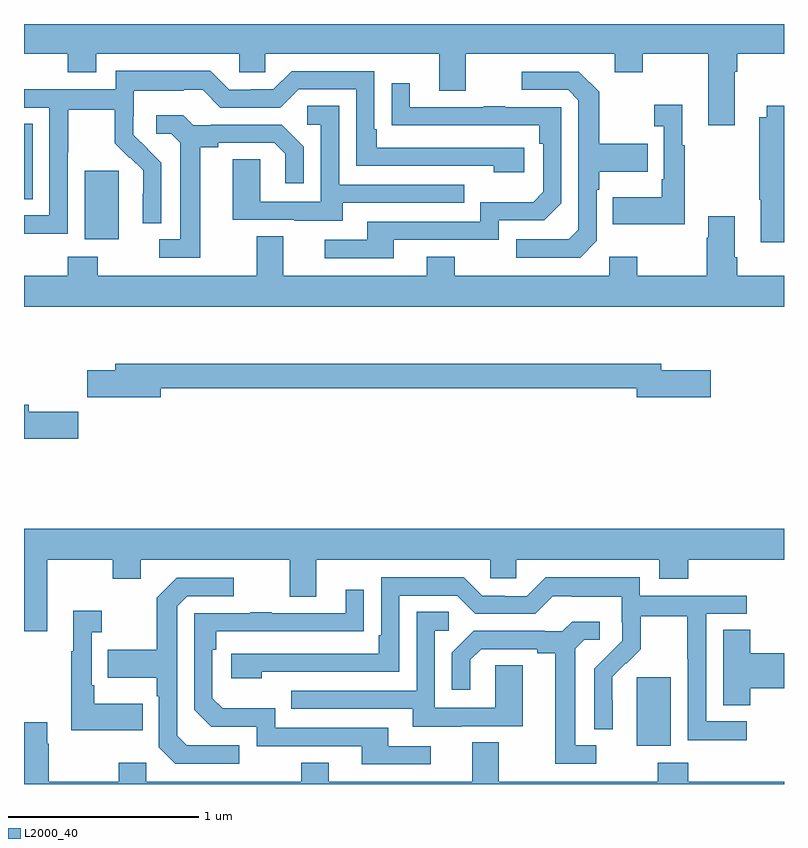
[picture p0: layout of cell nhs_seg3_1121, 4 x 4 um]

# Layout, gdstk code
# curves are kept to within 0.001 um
import gdstk
lib = gdstk.Library(unit=1e-6, precision=1e-09)
def R(c, l, rs):  # rectangles x0, y0, x1, y1
    for r in rs: c.add(gdstk.rectangle(r[:2], r[2:], *l))
def P(c, l, *ps):  # polygons
    for p in ps: c.add(gdstk.Polygon(p, *l))
L2000_40 = (2000, 40)

nhs_seg3_1121 = lib.new_cell('nhs_seg3_1121')
R(nhs_seg3_1121, L2000_40, [(172.226,702.602,172.405,702.963), (169.319,705.266,169.498,705.627), (169,705.478,169.045,705.875)])
P(nhs_seg3_1121, L2000_40, [(172.741,706.148),(172.754,706.148),(172.754,706.244),(173,706.244),(173,706.4),(169,706.4),(169,706.244),(169.229,706.244),(169.229,706.145),(169.381,706.145),(169.381,706.244),(170.133,706.244),(170.133,706.146),(170.271,706.146),(170.271,706.244),(171.185,706.244),(171.185,706.05),(171.325,706.05),(171.325,706.244),(172.109,706.244),(172.109,706.145),(172.257,706.145),(172.257,706.244),(172.601,706.244),(172.601,705.867),(172.741,705.867)],
  [(169.23,705.724),(169.233,705.724),(169.233,705.948),(169.477,705.948),(169.477,705.773),(169.554,705.696),(169.557,705.699),(169.628,705.629),(169.628,705.506),(169.626,705.506),(169.626,705.352),(169.722,705.352),(169.722,705.67),(169.576,705.818),(169.576,705.915),(169.578,705.915),(169.578,706.049),(169.841,706.049),(169.841,706.053),(169.941,706.053),(170.034,705.96),(170.349,705.96),(170.445,706.056),(170.748,706.056),(170.748,705.654),(171.473,705.654),(171.473,705.62),(171.634,705.62),(171.634,705.75),(170.857,705.75),(170.857,705.847),(170.844,705.847),(170.844,706.152),(170.409,706.152),(170.313,706.056),(170.195,706.056),(170.195,706.053),(170.079,706.053),(169.979,706.153),(169.482,706.153),(169.482,706.056),(169,706.056),(169,705.96),(169.134,705.96),(169.134,705.393),(169,705.393),(169,705.295),(169.23,705.295)],
  [(172.014,705.258),(172.014,705.527),(172.027,705.527),(172.027,705.623),(172.283,705.623),(172.283,705.771),(172.027,705.771),(172.027,706.043),(171.921,706.149),(171.621,706.149),(171.621,706.053),(171.864,706.053),(171.918,705.999),(171.918,705.318),(171.867,705.267),(171.591,705.267),(171.591,705.171),(171.927,705.171)],
  [(170.947,705.264),(171.498,705.264),(171.498,705.366),(171.738,705.366),(171.828,705.456),(171.828,705.963),(171.533,705.963),(171.533,705.968),(171.421,705.968),(171.421,705.963),(171.031,705.963),(171.031,706.087),(170.935,706.087),(170.935,705.868),(171.712,705.867),(171.712,705.77),(171.732,705.77),(171.732,705.516),(171.679,705.463),(171.402,705.463),(171.402,705.36),(170.807,705.36),(170.807,705.264),(170.583,705.264),(170.583,705.168),(170.947,705.168)],
  [(172.477,705.763),(172.465,705.763),(172.465,705.976),(172.317,705.976),(172.317,705.863),(172.368,705.863),(172.368,705.583),(172.356,705.583),(172.356,705.487),(172.099,705.487),(172.099,705.347),(172.477,705.347)],
  [(170.677,705.459),(171.317,705.459),(171.317,705.555),(170.658,705.555),(170.658,705.971),(170.49,705.971),(170.49,705.87),(170.562,705.87),(170.562,705.465),(170.244,705.465),(170.244,705.689),(170.099,705.689),(170.099,705.369),(170.423,705.369),(170.423,705.365),(170.677,705.365)],
  [(173,705.97),(172.91,705.97),(172.91,705.91),(172.87,705.91),(172.87,705.475),(172.877,705.475),(172.877,705.252),(173,705.252)],
  [(169.927,705.752),(170.023,705.752),(170.023,705.774),(170.318,705.774),(170.375,705.717),(170.375,705.561),(170.472,705.561),(170.472,705.754),(170.356,705.87),(169.984,705.87),(169.984,705.867),(169.89,705.867),(169.838,705.919),(169.695,705.919),(169.695,705.822),(169.776,705.822),(169.823,705.775),(169.823,705.267),(169.713,705.267),(169.713,705.171),(169.927,705.171)],
  [(170.225,705.284),(170.225,705.076),(169.389,705.076),(169.389,705.175),(169.229,705.175),(169.229,705.076),(169,705.076),(169,704.912),(173,704.912),(173,705.076),(172.754,705.076),(172.754,705.172),(172.741,705.172),(172.741,705.388),(172.601,705.388),(172.601,705.275),(172.594,705.275),(172.594,705.076),(172.227,705.076),(172.227,705.175),(172.08,705.175),(172.08,705.076),(171.267,705.076),(171.267,705.175),(171.119,705.175),(171.119,705.076),(170.365,705.076),(170.365,705.284)],
  [(169.72,704.482),(172.226,704.482),(172.226,704.435),(172.615,704.435),(172.615,704.577),(172.354,704.577),(172.354,704.611),(169.481,704.611),(169.481,704.577),(169.332,704.577),(169.332,704.435),(169.72,704.435)],
  [(169.285,704.36),(169.024,704.36),(169.024,704.396),(169,704.396),(169,704.218),(169.285,704.218)],
  [(169.123,703.58),(169.468,703.58),(169.468,703.481),(169.615,703.481),(169.615,703.58),(170.399,703.58),(170.399,703.386),(170.539,703.386),(170.539,703.58),(171.453,703.58),(171.453,703.482),(171.591,703.482),(171.591,703.58),(172.343,703.58),(172.343,703.481),(172.496,703.481),(172.496,703.58),(173,703.58),(173,703.744),(169,703.744),(169,703.203),(169.123,703.203)],
  [(172.804,702.729),(172.59,702.729),(172.59,703.296),(172.804,703.296),(172.804,703.392),(172.242,703.392),(172.242,703.489),(171.745,703.489),(171.645,703.389),(171.53,703.389),(171.53,703.392),(171.411,703.392),(171.315,703.488),(170.88,703.488),(170.88,703.183),(170.867,703.183),(170.867,703.086),(170.091,703.086),(170.091,702.956),(170.252,702.956),(170.252,702.99),(170.976,702.99),(170.976,703.392),(171.279,703.392),(171.375,703.296),(171.69,703.296),(171.783,703.389),(171.883,703.389),(171.883,703.385),(172.146,703.385),(172.146,703.251),(172.148,703.251),(172.148,703.154),(172.002,703.006),(172.002,702.688),(172.098,702.688),(172.097,702.965),(172.167,703.035),(172.17,703.032),(172.247,703.109),(172.247,703.284),(172.492,703.284),(172.492,703.06),(172.494,703.06),(172.494,702.631),(172.804,702.631)],
  [(170.134,702.603),(169.857,702.603),(169.806,702.654),(169.806,703.335),(169.86,703.389),(170.104,703.389),(170.104,703.485),(169.803,703.485),(169.698,703.379),(169.698,703.107),(169.441,703.107),(169.441,702.959),(169.698,702.959),(169.698,702.863),(169.71,702.863),(169.71,702.594),(169.797,702.507),(170.134,702.507)],
  [(171.142,702.6),(170.917,702.6),(170.917,702.696),(170.322,702.696),(170.322,702.799),(170.045,702.799),(169.992,702.852),(169.992,703.106),(170.012,703.106),(170.012,703.203),(170.789,703.204),(170.789,703.423),(170.693,703.423),(170.693,703.299),(170.303,703.299),(170.303,703.304),(170.191,703.304),(170.191,703.299),(169.896,703.299),(169.896,702.792),(169.986,702.702),(170.226,702.702),(170.226,702.6),(170.777,702.6),(170.777,702.504),(171.142,702.504)],
  [(169.625,702.823),(169.369,702.823),(169.369,702.919),(169.356,702.919),(169.356,703.199),(169.408,703.199),(169.408,703.312),(169.259,703.312),(169.259,703.099),(169.248,703.099),(169.248,702.683),(169.625,702.683)],
  [(171.301,702.705),(171.625,702.705),(171.625,703.025),(171.48,703.025),(171.48,702.801),(171.162,702.801),(171.162,703.206),(171.235,703.206),(171.235,703.307),(171.066,703.307),(171.066,702.891),(170.407,702.891),(170.407,702.795),(171.047,702.795),(171.047,702.701),(171.301,702.701)],
  [(172.012,702.603),(171.901,702.603),(171.901,703.111),(171.948,703.158),(172.03,703.158),(172.03,703.255),(171.886,703.255),(171.834,703.203),(171.74,703.203),(171.74,703.206),(171.368,703.206),(171.252,703.09),(171.252,702.897),(171.349,702.897),(171.349,703.053),(171.406,703.11),(171.701,703.11),(171.701,703.088),(171.797,703.088),(171.797,702.507),(172.012,702.507)],
  [(172.823,702.905),(173,702.905),(173,703.088),(172.823,703.088),(172.823,703.211),(172.679,703.211),(172.679,702.814),(172.823,702.814)],
  [(173,702.412),(172.496,702.412),(172.496,702.511),(172.336,702.511),(172.336,702.412),(171.499,702.412),(171.499,702.62),(171.359,702.62),(171.359,702.412),(170.605,702.412),(170.605,702.511),(170.458,702.511),(170.458,702.412),(169.644,702.412),(169.644,702.511),(169.498,702.511),(169.498,702.412),(169.131,702.412),(169.131,702.611),(169.123,702.611),(169.123,702.724),(169,702.724),(169,702.4),(173,702.4)])

lib.write_gds('nhs_seg3_1121.gds')
